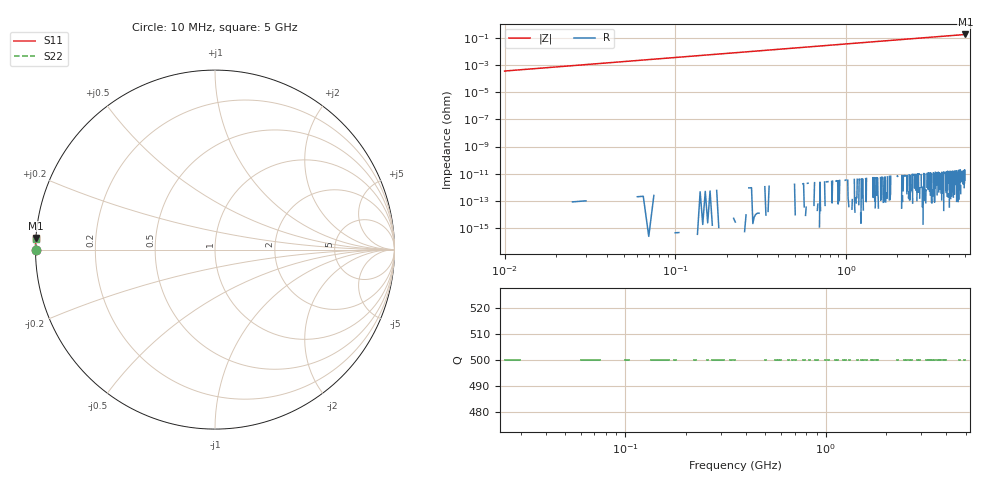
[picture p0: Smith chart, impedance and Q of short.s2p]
! Forward-simulated: Short dummy (pads + leads, device shorted)
!  Cpbe_fF = 22.0
!  Cpce_fF = 18.0
!  Cpbc_fF = 5.0
!  Lb_pH = 45.0
!  Lc_pH = 42.0
!  Le_pH = 6.0
# Hz S DB R 50
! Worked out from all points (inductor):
!   1001 points, 10 MHz to 5 GHz, reference 50 ohm
!   read as one part in shunt: L = 6 pH near 34.95 MHz
!   highest |Z| = 189 mohm at 5 GHz (marker M1)
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1e7  -0.00 180.0  -96.43 90.0  -96.43 90.0  -0.00 180.0
4.493e7  -0.00 180.0  -83.38 90.0  -83.38 90.0  -0.00 180.0
5.99e7  -0.00 180.0  -80.88 90.0  -80.88 90.0  -0.00 180.0
7.986e7  -0.00 179.9  -78.39 89.9  -78.39 89.9  -0.00 179.9
1.098e8  -0.00 179.9  -75.62 89.9  -75.62 89.9  -0.00 179.9
1.2976e8  -0.00 179.9  -74.17 89.9  -74.17 89.9  -0.00 179.9
1.7467e8  -0.00 179.9  -71.59 89.9  -71.59 89.9  -0.00 179.9
2.096e8  -0.00 179.8  -70.00 89.9  -70.00 89.9  -0.00 179.9
2.4453e8  -0.00 179.8  -68.67 89.8  -68.67 89.8  -0.00 179.8
3.2936e8  -0.00 179.8  -66.08 89.8  -66.08 89.8  -0.00 179.8
4.2916e8  -0.00 179.7  -63.78 89.7  -63.78 89.7  -0.00 179.7
5.4892e8  -0.00 179.6  -61.64 89.6  -61.64 89.6  -0.00 179.6
6.8365e8  -0.00 179.5  -59.74 89.5  -59.74 89.5  -0.00 179.5
8.4333e8  -0.00 179.4  -57.91 89.4  -57.91 89.4  -0.00 179.4
1.01798e9  -0.00 179.3  -56.28 89.3  -56.28 89.3  -0.00 179.3
1.21259e9  -0.00 179.1  -54.76 89.1  -54.76 89.1  -0.00 179.2
1.67666e9  -0.00 178.8  -51.94 88.8  -51.94 88.8  -0.00 178.8
2.06089e9  -0.00 178.5  -50.15 88.5  -50.15 88.5  -0.00 178.6
2.505e9  -0.00 178.2  -48.46 88.2  -48.46 88.2  -0.00 178.3
3.33833e9  -0.00 177.5  -45.96 87.6  -45.96 87.6  -0.00 177.7
4.17166e9  -0.00 176.9  -44.03 87.0  -44.03 87.0  -0.00 177.1
5e9  -0.00 176.3  -42.46 86.4  -42.46 86.4  -0.00 176.5
